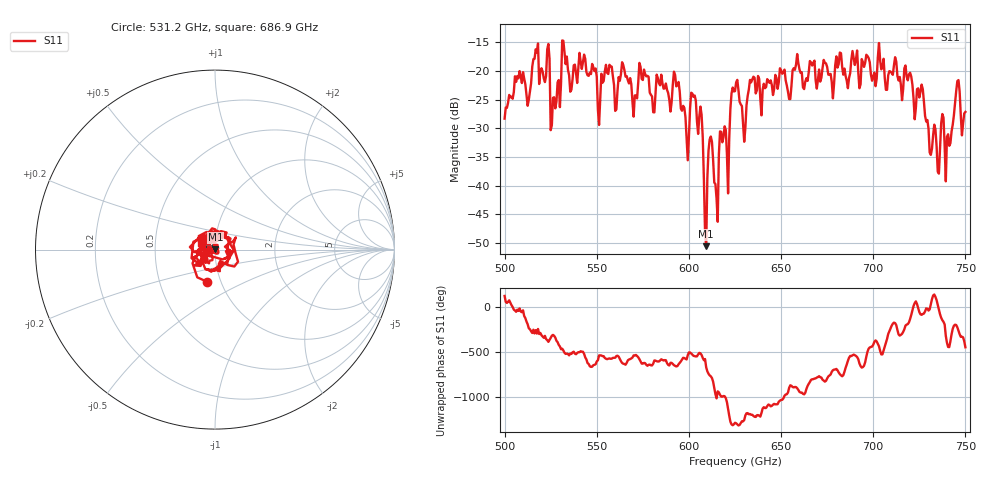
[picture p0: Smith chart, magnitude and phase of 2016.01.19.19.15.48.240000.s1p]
!Created with skrf (http://scikit-rf.org).
# GHz S RI R 50.0
!freq ReS11 ImS11
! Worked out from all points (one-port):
!   401 points, 500 GHz to 750 GHz, reference 50 ohm
!   lowest |S11| = -50.5 dB at 609.4 GHz (marker M1), VSWR 1.01, Z = 50.2 + j0.22 ohm
!   |S11| at or under -10 dB: start of sweep to end of sweep
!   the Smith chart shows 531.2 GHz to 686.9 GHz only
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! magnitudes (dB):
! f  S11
! 500 GHz  -28.3
! 506.9 GHz  -20.9
! 513.1 GHz  -25.0
! 516.9 GHz  -16.2
! 523.1 GHz  -16.2
! 526.2 GHz  -24.7
! 531.2 GHz  -14.7
! 548.8 GHz  -20.0
! 551.9 GHz  -24.9
! 562.5 GHz  -21.7
! 593.8 GHz  -22.5
! 598.8 GHz  -31.7
! 602.5 GHz  -24.5
! 606.2 GHz  -26.2
! 609.4 GHz  -50.5
! 611.2 GHz  -31.9
! 615 GHz  -42.3
! 617.5 GHz  -30.6
! 625 GHz  -23.5
! 630 GHz  -32.3
! 634.4 GHz  -21.5
! 656.2 GHz  -19.8
! 687.5 GHz  -20.4
! 718.8 GHz  -21.6
! 735 GHz  -37.5
! 740.6 GHz  -31.0
! 745.6 GHz  -21.8
! 750 GHz  -27.1
